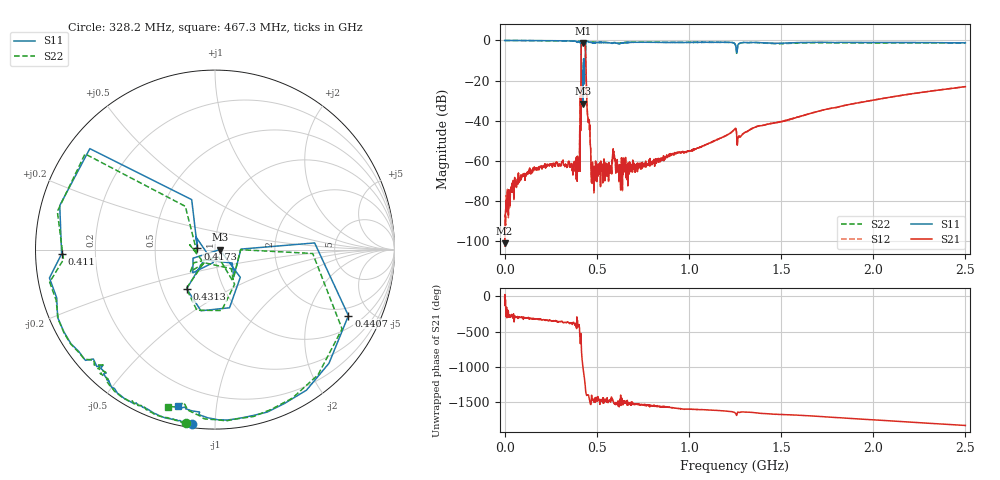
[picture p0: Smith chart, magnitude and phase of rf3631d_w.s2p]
!Keysight Technologies,E5080A,MY55200989,A.11.70.00
!Date: Wednesday, September 26, 2018 11:48:24
!Correction: S11(Full 2 Port(1,2))
!S21(Full 2 Port(1,2))
!S12(Full 2 Port(1,2))
!S22(Full 2 Port(1,2))
!S2P File: Measurements: S11, S21, S12, S22:
# Hz S  dB  R 50
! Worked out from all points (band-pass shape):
!   1601 points, 100 kHz to 2.5 GHz, reference 50 ohm
!   highest |S21| = -1.25 dB at 425.1 MHz (marker M1); lowest = -101.0 dB at 100 kHz (marker M2)
!   |S21| within 3 dB of the highest: 415.7 MHz to 438.5 MHz (22.77 MHz wide, 5.33 % of centre)
!   lowest |S11| = -31.4 dB at 425.1 MHz (marker M3), VSWR 1.06, Z = 52.8 - j0.00932 ohm
!   |S11| at or under -10 dB: 415.7 MHz to 428 MHz (12.36 MHz wide, 2.93 % of centre); 430.4 MHz to 438.5 MHz (8.117 MHz wide, 1.87 % of centre)
!   |S22| runs from -26.8 to 0.0 dB; largest |S21 - S12| = 0.00037
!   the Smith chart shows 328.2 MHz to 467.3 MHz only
!   S11 on the Smith chart (normalised r, x): 328.2 MHz: 0.02, -0.88; 411 MHz: 0.08, -0.01; 417.3 MHz: 0.82, +0.01; 431.3 MHz: 0.67, -0.31; 440.7 MHz: 1.55, -3.66; 467.3 MHz: 0.09, -0.79
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100000  0.01 -0.1  -100.98 -17.6  -100.95 -17.0  0.01 -0.1
1.266574e8  -0.04 -36.7  -66.02 59.8  -65.77 57.9  -0.04 -38.4
3.282119e8  -0.17 -97.5  -62.36 -7.7  -62.24 -6.7  -0.17 -99.6
3.969591e8  -0.66 -135.3  -58.70 -51.5  -58.57 -51.4  -0.62 -136.2
4.016464e8  -0.47 -143.3  -62.06 -56.6  -62.14 -57.0  -0.43 -143.3
4.110211e8  -1.36 -178.4  -27.73 48.0  -27.70 48.0  -1.45 -176.3
4.172708e8  -20.19 176.4  -2.01 -60.3  -2.01 -60.3  -19.90 -167.4
4.25083e8  -31.41 -0.2  -1.25 72.9  -1.25 72.9  -26.82 -64.9
4.313328e8  -11.39 -125.8  -1.70 -48.8  -1.70 -48.8  -11.42 -126.4
4.407074e8  -1.62 -26.3  -11.36 73.8  -11.36 73.8  -1.57 -32.0
4.672688e8  -0.97 -103.3  -53.97 -96.9  -53.95 -96.7  -0.79 -106.7
4.875805e8  -1.12 -113.4  -65.82 -27.7  -65.58 -27.7  -0.77 -116.7
5.953887e8  -1.08 -145.7  -57.20 -87.5  -57.26 -86.9  -1.04 -146.7
6.313248e8  -1.34 -151.3  -62.30 -110.6  -62.22 -109.6  -1.33 -151.2
8.344416e8  -0.97 163.7  -60.23 -122.1  -60.04 -122.2  -0.88 166.2
1.096931e9  -0.89 114.5  -51.66 -173.4  -51.66 -173.1  -0.87 118.7
1.25005e9  -1.75 75.6  -43.91 143.4  -43.89 143.4  -1.82 79.0
1.273487e9  -1.45 92.0  -47.68 149.8  -47.70 150.0  -1.51 96.6
1.353171e9  -0.94 71.4  -43.49 146.9  -43.49 147.1  -1.01 74.7
1.667221e9  -0.93 21.6  -36.16 99.7  -36.16 99.7  -1.12 19.9
2.084392e9  -1.00 -44.3  -28.37 31.3  -28.40 31.3  -1.26 -58.1
2.5e9  -1.17 -108.0  -23.01 -35.2  -23.00 -35.3  -1.28 -130.5
